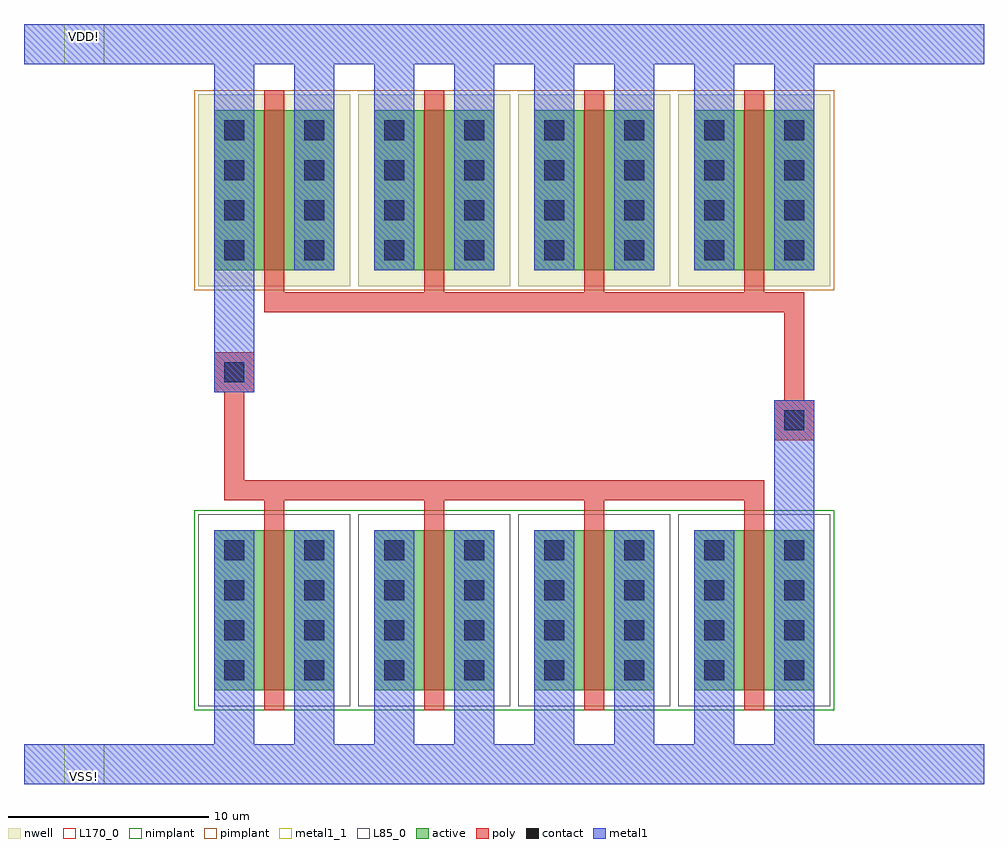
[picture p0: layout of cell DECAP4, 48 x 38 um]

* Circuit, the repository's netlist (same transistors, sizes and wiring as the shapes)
* +++++++++++++++++++++++++++++++++++++++++++++++++++++++++ *
* CDL Netlist:                                              *
*                                                           *
* Cell Name  : DECAP4                                       *
* Netlisted  : Thu Nov 18 07:47:22 2021                     *
* PVS Version: 16.15-s010 Fri Jun 28 22:24:07 PDT 2019      *
* +++++++++++++++++++++++++++++++++++++++++++++++++++++++++ *
*.LDD
*.DEVTMPLT 0 MN(nmos3) _nmos1v _soi_nd(D) poly_conn(G) _soi_nsb(S) _soi_nsb(B)
*.DEVTMPLT 1 MP(pmos3) _pmos1v _soi_pd(D) poly_conn(G) _soi_psb(S) _soi_psb(B)

* +++++++++++++++++++++++++++++++++++++++++++++++++++++++++ *
* Sub cell: pmos3_CDNS_2                                    *
* +++++++++++++++++++++++++++++++++++++++++++++++++++++++++ *
.subckt pmos3_CDNS_2 2 3
** N=4 EP=2 FDC=1
M0 2 3 2 2 pmos3 L=1e-06 W=8e-06 AD=2e-11 AS=0 PD=2.1e-05 PS=0 fw=8e-06 sa=2e-06 sb=2e-06 $X=7000 $Y=2000 $dt=1
.ends pmos3_CDNS_2

* +++++++++++++++++++++++++++++++++++++++++++++++++++++++++ *
* Sub cell: nmos3_CDNS_3                                    *
* +++++++++++++++++++++++++++++++++++++++++++++++++++++++++ *
.subckt nmos3_CDNS_3 2 3
** N=3 EP=2 FDC=1
M0 2 3 2 2 nmos3 L=1e-06 W=8e-06 AD=2e-11 AS=0 PD=2.1e-05 PS=0 fw=8e-06 sa=2e-06 sb=2e-06 $X=7000 $Y=2000 $dt=0
.ends nmos3_CDNS_3

* +++++++++++++++++++++++++++++++++++++++++++++++++++++++++ *
* Sub cell: DECAP4                                          *
* +++++++++++++++++++++++++++++++++++++++++++++++++++++++++ *
.subckt DECAP4 VDD! VSS!
** N=4 EP=2 FDC=8
X2 VDD! VSS! pmos3_CDNS_2 $T=33000 67400 0 180 $X=17000 $Y=45400
X3 VDD! VSS! pmos3_CDNS_2 $T=49000 67400 0 180 $X=33000 $Y=45400
X4 VDD! VSS! pmos3_CDNS_2 $T=65000 67400 0 180 $X=49000 $Y=45400
X5 VDD! VSS! pmos3_CDNS_2 $T=81000 67400 0 180 $X=65000 $Y=45400
X6 VSS! VDD! nmos3_CDNS_3 $T=33000 5400 1 180 $X=17000 $Y=5400
X7 VSS! VDD! nmos3_CDNS_3 $T=49000 5400 1 180 $X=33000 $Y=5400
X8 VSS! VDD! nmos3_CDNS_3 $T=65000 5400 1 180 $X=49000 $Y=5400
X9 VSS! VDD! nmos3_CDNS_3 $T=81000 5400 1 180 $X=65000 $Y=5400
.ends DECAP4

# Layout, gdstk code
from math import pi, radians
import gdstk
lib = gdstk.Library(unit=1e-6, precision=5e-10)
def R(c, l, rs):  # rectangles x0, y0, x1, y1
    for r in rs: c.add(gdstk.rectangle(r[:2], r[2:], *l))
def A(c, l, x, y, w, h, nx, ny, dx, dy):  # array of equal rectangles
    R(c, l, [(x+i*dx, y+j*dy, x+i*dx+w, y+j*dy+h) for i in range(nx) for j in range(ny)])
active = (1, 0)
nwell = (2, 0)
poly = (3, 0)
nimplant = (4, 0)
pimplant = (5, 0)
contact = (6, 0)
metal1 = (7, 0)
metal1_1 = (7, 1)
L85_0 = (85, 0)
L170_0 = (170, 0)

pmos3_cdns_2 = lib.new_cell('pmos3_CDNS_2')
R(pmos3_cdns_2, active, [(1,1,7,9)])
R(pmos3_cdns_2, nwell, [(0.2,0.2,7.8,9.8)])
R(pmos3_cdns_2, poly, [(3.5,0,4.5,11), (3.6,9.6,4.4,9.9)])
R(pmos3_cdns_2, pimplant, [(0,0,8,10)])
A(pmos3_cdns_2, contact, 1.5, 1.5, 1, 1, 1, 4, 0, 2)
A(pmos3_cdns_2, contact, 5.5, 1.5, 1, 1, 1, 4, 0, 2)
R(pmos3_cdns_2, contact, [(5.5,1.5,6.5,2.5)])
R(pmos3_cdns_2, metal1, [(1,1,3,9), (5,1,7,9), (1.3,1.3,2.7,2.7), (5.3,1.3,6.7,2.7)])
R(pmos3_cdns_2, L170_0, [(4.5,1,7,9)])

nmos3_cdns_3 = lib.new_cell('nmos3_CDNS_3')
R(nmos3_cdns_3, active, [(1,1,7,9)])
R(nmos3_cdns_3, poly, [(3.5,0,4.5,11), (3.6,9.5,4.4,9.9)])
R(nmos3_cdns_3, nimplant, [(0,0,8,10)])
A(nmos3_cdns_3, contact, 1.5, 1.5, 1, 1, 1, 4, 0, 2)
A(nmos3_cdns_3, contact, 5.5, 1.5, 1, 1, 1, 4, 0, 2)
R(nmos3_cdns_3, contact, [(5.5,1.5,6.5,2.5)])
R(nmos3_cdns_3, metal1, [(1,1,3,9), (5,1,7,9), (1.3,1.3,2.7,8.7), (5.3,1.3,6.7,8.7)])
R(nmos3_cdns_3, L85_0, [(0.2,0.2,7.8,9.8)])
R(nmos3_cdns_3, L170_0, [(4.5,1,7,9)])

m1_po_cdns_1 = lib.new_cell('M1_PO_CDNS_1')
R(m1_po_cdns_1, poly, [(-1,-1,1,1)])
R(m1_po_cdns_1, contact, [(-0.5,-0.5,0.5,0.5)])
R(m1_po_cdns_1, metal1, [(-1,-1,1,1)])

decap4 = lib.new_cell('DECAP4')
R(decap4, metal1_1, [(2,-1,4,1), (2,35,4,37)])
decap4.add(gdstk.FlexPath([(38.5,23.1),(38.5,17.3)], 1, ends=(0.5, 0), simple_path=True, layer=3, datatype=0))  # poly
decap4.add(gdstk.FlexPath([(12,23.1),(38.5,23.1)], 1, ends=(0, 0.5), simple_path=True, layer=3, datatype=0))  # poly
decap4.add(gdstk.FlexPath([(10.5,13.7),(10.5,20.2)], 1, ends=(0.5, 0), simple_path=True, layer=3, datatype=0))  # poly
decap4.add(gdstk.FlexPath([(37,13.7),(10.5,13.7)], 1, ends=(0, 0.5), simple_path=True, layer=3, datatype=0))  # poly
decap4.add(gdstk.FlexPath([(38.5,9.72),(38.5,18.1)], 2, ends="flush", simple_path=True, layer=7, datatype=0))  # metal1
decap4.add(gdstk.FlexPath([(34.5,0),(38.5,0)], 2, ends="extended", simple_path=True, layer=7, datatype=0))  # metal1
decap4.add(gdstk.FlexPath([(38.5,11.4),(38.5,0)], 2, ends=(0, 1), simple_path=True, layer=7, datatype=0))  # metal1
decap4.add(gdstk.FlexPath([(30.5,0),(34.5,0)], 2, ends="extended", simple_path=True, layer=7, datatype=0))  # metal1
decap4.add(gdstk.FlexPath([(34.5,11.4),(34.5,0)], 2, ends=(0, 1), simple_path=True, layer=7, datatype=0))  # metal1
decap4.add(gdstk.FlexPath([(26.5,0),(30.5,0)], 2, ends="extended", simple_path=True, layer=7, datatype=0))  # metal1
decap4.add(gdstk.FlexPath([(30.5,11.4),(30.5,0)], 2, ends=(0, 1), simple_path=True, layer=7, datatype=0))  # metal1
decap4.add(gdstk.FlexPath([(22.5,0),(26.5,0)], 2, ends="extended", simple_path=True, layer=7, datatype=0))  # metal1
decap4.add(gdstk.FlexPath([(26.5,11.4),(26.5,0)], 2, ends=(0, 1), simple_path=True, layer=7, datatype=0))  # metal1
decap4.add(gdstk.FlexPath([(18.5,0),(22.5,0)], 2, ends="extended", simple_path=True, layer=7, datatype=0))  # metal1
decap4.add(gdstk.FlexPath([(22.5,11.4),(22.5,0)], 2, ends=(0, 1), simple_path=True, layer=7, datatype=0))  # metal1
decap4.add(gdstk.FlexPath([(14.5,0),(18.5,0)], 2, ends="extended", simple_path=True, layer=7, datatype=0))  # metal1
decap4.add(gdstk.FlexPath([(18.5,11.4),(18.5,0)], 2, ends=(0, 1), simple_path=True, layer=7, datatype=0))  # metal1
decap4.add(gdstk.FlexPath([(10.5,0),(14.5,0)], 2, ends="extended", simple_path=True, layer=7, datatype=0))  # metal1
decap4.add(gdstk.FlexPath([(14.5,11.4),(14.5,0)], 2, ends=(0, 1), simple_path=True, layer=7, datatype=0))  # metal1
decap4.add(gdstk.FlexPath([(0,0),(10.5,0)], 2, ends=(0, 1), simple_path=True, layer=7, datatype=0))  # metal1
decap4.add(gdstk.FlexPath([(10.5,11.4),(10.5,0)], 2, ends=(0, 1), simple_path=True, layer=7, datatype=0))  # metal1
decap4.add(gdstk.FlexPath([(34.5,36),(38.5,36)], 2, ends="extended", simple_path=True, layer=7, datatype=0))  # metal1
decap4.add(gdstk.FlexPath([(38.5,31),(38.5,36)], 2, ends=(0, 1), simple_path=True, layer=7, datatype=0))  # metal1
decap4.add(gdstk.FlexPath([(30.5,36),(34.5,36)], 2, ends="extended", simple_path=True, layer=7, datatype=0))  # metal1
decap4.add(gdstk.FlexPath([(34.5,31),(34.5,36)], 2, ends=(0, 1), simple_path=True, layer=7, datatype=0))  # metal1
decap4.add(gdstk.FlexPath([(26.5,36),(30.5,36)], 2, ends="extended", simple_path=True, layer=7, datatype=0))  # metal1
decap4.add(gdstk.FlexPath([(30.5,31),(30.5,36)], 2, ends=(0, 1), simple_path=True, layer=7, datatype=0))  # metal1
decap4.add(gdstk.FlexPath([(22.5,36),(26.5,36)], 2, ends="extended", simple_path=True, layer=7, datatype=0))  # metal1
decap4.add(gdstk.FlexPath([(26.5,31),(26.5,36)], 2, ends=(0, 1), simple_path=True, layer=7, datatype=0))  # metal1
decap4.add(gdstk.FlexPath([(18.5,36),(22.5,36)], 2, ends="extended", simple_path=True, layer=7, datatype=0))  # metal1
decap4.add(gdstk.FlexPath([(22.5,31),(22.5,36)], 2, ends=(0, 1), simple_path=True, layer=7, datatype=0))  # metal1
decap4.add(gdstk.FlexPath([(14.5,36),(18.5,36)], 2, ends="extended", simple_path=True, layer=7, datatype=0))  # metal1
decap4.add(gdstk.FlexPath([(18.5,31),(18.5,36)], 2, ends=(0, 1), simple_path=True, layer=7, datatype=0))  # metal1
decap4.add(gdstk.FlexPath([(10.5,36),(14.5,36)], 2, ends="extended", simple_path=True, layer=7, datatype=0))  # metal1
decap4.add(gdstk.FlexPath([(14.5,31),(14.5,36)], 2, ends=(0, 1), simple_path=True, layer=7, datatype=0))  # metal1
decap4.add(gdstk.FlexPath([(0,36),(10.5,36)], 2, ends=(0, 1), simple_path=True, layer=7, datatype=0))  # metal1
decap4.add(gdstk.FlexPath([(10.5,31),(10.5,36)], 2, ends=(0, 1), simple_path=True, layer=7, datatype=0))  # metal1
decap4.add(gdstk.FlexPath([(38.5,0),(48,0)], 2, ends=(1, 0), simple_path=True, layer=7, datatype=0))  # metal1
decap4.add(gdstk.FlexPath([(38.5,36),(48,36)], 2, ends=(1, 0), simple_path=True, layer=7, datatype=0))  # metal1
decap4.add(gdstk.FlexPath([(10.5,26.3),(10.5,19.6)], 2, ends="flush", simple_path=True, layer=7, datatype=0))  # metal1
decap4.add(gdstk.Reference(pmos3_cdns_2, (32.5,33.7), rotation=pi))
decap4.add(gdstk.Reference(pmos3_cdns_2, (40.5,33.7), rotation=pi))
decap4.add(gdstk.Reference(pmos3_cdns_2, (16.5,33.7), rotation=pi))
decap4.add(gdstk.Reference(pmos3_cdns_2, (24.5,33.7), rotation=pi))
decap4.add(gdstk.Reference(nmos3_cdns_3, (16.5,2.7), rotation=pi, x_reflection=True))
decap4.add(gdstk.Reference(nmos3_cdns_3, (24.5,2.7), rotation=pi, x_reflection=True))
decap4.add(gdstk.Reference(nmos3_cdns_3, (32.5,2.7), rotation=pi, x_reflection=True))
decap4.add(gdstk.Reference(nmos3_cdns_3, (40.5,2.7), rotation=pi, x_reflection=True))
decap4.add(gdstk.Reference(m1_po_cdns_1, (38.5,17.2)))
decap4.add(gdstk.Reference(m1_po_cdns_1, (10.5,19.6)))
decap4.add(gdstk.Label('VSS!', (3,-0.6), layer=7, texttype=3))
decap4.add(gdstk.Label('VDD!', (3,36.4), layer=7, texttype=3))

lib.write_gds('DECAP4.gds')
